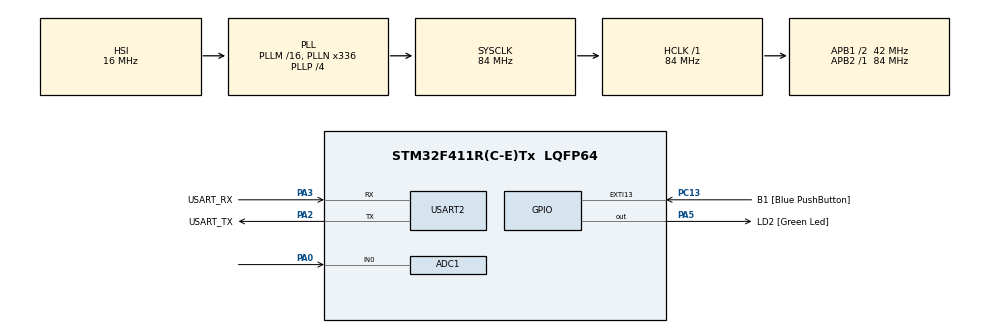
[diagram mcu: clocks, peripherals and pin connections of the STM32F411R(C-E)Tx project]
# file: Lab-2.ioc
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ADC1.Channel-0\#ChannelRegularConversion=ADC_CHANNEL_TEMPSENSOR
ADC1.Channel-1\#ChannelRegularConversion=ADC_CHANNEL_0
ADC1.ContinuousConvMode=ENABLE
ADC1.DMAContinuousRequests=ENABLE
ADC1.NbrOfConversion=2
ADC1.NbrOfConversionFlag=1
ADC1.Rank-0\#ChannelRegularConversion=1
ADC1.Rank-1\#ChannelRegularConversion=2
ADC1.SamplingTime-0\#ChannelRegularConversion=ADC_SAMPLETIME_480CYCLES
ADC1.SamplingTime-1\#ChannelRegularConversion=ADC_SAMPLETIME_480CYCLES
ADC1.ScanConvMode=ENABLE
ADC1.master=1
Dma.ADC1.0.Direction=DMA_PERIPH_TO_MEMORY
Dma.ADC1.0.FIFOMode=DMA_FIFOMODE_DISABLE
Dma.ADC1.0.Instance=DMA2_Stream0
Dma.ADC1.0.MemDataAlignment=DMA_MDATAALIGN_HALFWORD
Dma.ADC1.0.MemInc=DMA_MINC_ENABLE
Dma.ADC1.0.Mode=DMA_CIRCULAR
Dma.ADC1.0.PeriphDataAlignment=DMA_PDATAALIGN_HALFWORD
Dma.ADC1.0.PeriphInc=DMA_PINC_DISABLE
Dma.ADC1.0.Priority=DMA_PRIORITY_LOW
Dma.Request0=ADC1
Mcu.Family=STM32F4
Mcu.Name=STM32F411R(C-E)Tx
Mcu.Package=LQFP64
NVIC.ADC_IRQn=true\:0\:0\:false\:false\:true\:true\:true\:true
NVIC.DMA2_Stream0_IRQn=true\:0\:0\:false\:false\:true\:false\:true\:true
NVIC.EXTI15_10_IRQn=true\:0\:0\:false\:false\:true\:true\:true\:true
NVIC.PriorityGroup=NVIC_PRIORITYGROUP_0
PA0-WKUP.Signal=ADCx_IN0
PA13.GPIO_Label=TMS
PA13.Mode=Serial_Wire
PA13.Signal=SYS_JTMS-SWDIO
PA14.GPIO_Label=TCK
PA14.Mode=Serial_Wire
PA14.Signal=SYS_JTCK-SWCLK
PA2.GPIO_Label=USART_TX
PA2.Mode=Asynchronous
PA2.Signal=USART2_TX
PA3.GPIO_Label=USART_RX
PA3.Mode=Asynchronous
PA3.Signal=USART2_RX
PA5.GPIO_Label=LD2 [Green Led]
PA5.Signal=GPIO_Output
PB3.GPIO_Label=SWO
PB3.Signal=SYS_JTDO-SWO
PC13-ANTI_TAMP.GPIO_Label=B1 [Blue PushButton]
PC13-ANTI_TAMP.GPIO_ModeDefaultEXTI=GPIO_MODE_IT_FALLING
PC13-ANTI_TAMP.Signal=GPXTI13
PC14-OSC32_IN.Mode=LSE-External-Oscillator
PC14-OSC32_IN.Signal=RCC_OSC32_IN
PC15-OSC32_OUT.Mode=LSE-External-Oscillator
PC15-OSC32_OUT.Signal=RCC_OSC32_OUT
PH0\ -\ OSC_IN.Mode=HSE-External-Clock-Source
PH0\ -\ OSC_IN.Signal=RCC_OSC_IN
PH1\ -\ OSC_OUT.Mode=HSE-External-Clock-Source
PH1\ -\ OSC_OUT.Signal=RCC_OSC_OUT
ProjectManager.HeapSize=0x200
ProjectManager.StackSize=0x400
ProjectManager.TargetToolchain=STM32CubeIDE
RCC.48MHZClocksFreq_Value=84000000
RCC.AHBFreq_Value=84000000
RCC.APB1CLKDivider=RCC_HCLK_DIV2
RCC.APB1Freq_Value=42000000
RCC.APB1TimFreq_Value=84000000
RCC.APB2Freq_Value=84000000
RCC.APB2TimFreq_Value=84000000
RCC.CortexFreq_Value=84000000
RCC.FLatency-AdvancedSettings=FLASH_LATENCY_2
RCC.HCLKFreq_Value=84000000
RCC.HSE_VALUE=8000000
RCC.HSI_VALUE=16000000
RCC.PLLN=336
RCC.PLLP=RCC_PLLP_DIV4
RCC.SYSCLKFreq_VALUE=84000000
RCC.SYSCLKSource=RCC_SYSCLKSOURCE_PLLCLK
RCC.VCOOutputFreq_Value=336000000
SH.ADCx_IN0.0=ADC1_IN0,IN0
USART2.VirtualMode=VM_ASYNC
VP_ADC1_TempSens_Input.Mode=IN-TempSens
board=NUCLEO-F411RE

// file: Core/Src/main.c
/* USER CODE BEGIN Header */
/**
  ******************************************************************************
  * @file           : main.c
  * @brief          : Main program body
  ******************************************************************************
  * @attention
  *
  * Copyright (c) 2023 STMicroelectronics.
  * All rights reserved.
  *
  * This software is licensed under terms that can be found in the LICENSE file
  * in the root directory of this software component.
  * If no LICENSE file comes with this software, it is provided AS-IS.
  *
  ******************************************************************************
  */
/* USER CODE END Header */
#include "main.h"

ADC_HandleTypeDef hadc1;
DMA_HandleTypeDef hdma_adc1;

UART_HandleTypeDef huart2;

/* USER CODE BEGIN PV */
uint16_t adcRawData[20] ;
float Temp = 0 ;
uint16_t VoltMeter = 0 ;
/* USER CODE END PV */

void SystemClock_Config(void);
static void MX_GPIO_Init(void);
static void MX_DMA_Init(void);
static void MX_USART2_UART_Init(void);
static void MX_ADC1_Init(void);

int main(void)
{

  /* MCU Configuration--------------------------------------------------------*/

  /* Reset of all peripherals, Initializes the Flash interface and the Systick. */
  HAL_Init();

  /* Configure the system clock */
  SystemClock_Config();

  /* Initialize all configured peripherals */
  MX_GPIO_Init();
  MX_DMA_Init();
  MX_USART2_UART_Init();
  MX_ADC1_Init();
  /* USER CODE BEGIN 2 */
  HAL_ADC_Start_DMA(&hadc1, adcRawData, 20);
  /* USER CODE END 2 */

  /* Infinite loop */
  while (1)
  {

    /* USER CODE BEGIN 3 */
	  static uint32_t timestamp ;
	  if(HAL_GetTick() >= timestamp)
	  {
		  Temp = 0 ;
		  VoltMeter = 0;
		  timestamp = HAL_GetTick() + 1000 ;
		  register i ;
		  for(i = 0;i<20;i+=2)
		  {
			  Temp += adcRawData[i] ;
			  if(i == 18)
			  {
				  Temp /= 10.0 ;
				  Temp = (((Temp / 4096.0) * 3.3 - 0.760) / 0.0025) + 25.0 +273.0 ;
			  }
		  }
		  register j;
		  for(j = 1;j<21;j+=2)
		  {
			  VoltMeter += adcRawData[j] ;
			  if(j == 19)
			  {
				  VoltMeter /= 10 ;
				  VoltMeter = (VoltMeter / 3103.0) * 5.0 * 1000 ;
			  }
		  }
	  }

  }
  /* USER CODE END 3 */
}

void SystemClock_Config(void)
{
  RCC_OscInitTypeDef RCC_OscInitStruct = {0};
  RCC_ClkInitTypeDef RCC_ClkInitStruct = {0};

  /** Configure the main internal regulator output voltage
  */
  __HAL_RCC_PWR_CLK_ENABLE();
  __HAL_PWR_VOLTAGESCALING_CONFIG(PWR_REGULATOR_VOLTAGE_SCALE1);

  /** Initializes the RCC Oscillators according to the specified parameters
  * in the RCC_OscInitTypeDef structure.
  */
  RCC_OscInitStruct.OscillatorType = RCC_OSCILLATORTYPE_HSI;
  RCC_OscInitStruct.HSIState = RCC_HSI_ON;
  RCC_OscInitStruct.HSICalibrationValue = RCC_HSICALIBRATION_DEFAULT;
  RCC_OscInitStruct.PLL.PLLState = RCC_PLL_ON;
  RCC_OscInitStruct.PLL.PLLSource = RCC_PLLSOURCE_HSI;
  RCC_OscInitStruct.PLL.PLLM = 16;
  RCC_OscInitStruct.PLL.PLLN = 336;
  RCC_OscInitStruct.PLL.PLLP = RCC_PLLP_DIV4;
  RCC_OscInitStruct.PLL.PLLQ = 4;
  if (HAL_RCC_OscConfig(&RCC_OscInitStruct) != HAL_OK)
  {
    Error_Handler();
  }

  /** Initializes the CPU, AHB and APB buses clocks
  */
  RCC_ClkInitStruct.ClockType = RCC_CLOCKTYPE_HCLK|RCC_CLOCKTYPE_SYSCLK
                              |RCC_CLOCKTYPE_PCLK1|RCC_CLOCKTYPE_PCLK2;
  RCC_ClkInitStruct.SYSCLKSource = RCC_SYSCLKSOURCE_PLLCLK;
  RCC_ClkInitStruct.AHBCLKDivider = RCC_SYSCLK_DIV1;
  RCC_ClkInitStruct.APB1CLKDivider = RCC_HCLK_DIV2;
  RCC_ClkInitStruct.APB2CLKDivider = RCC_HCLK_DIV1;

  if (HAL_RCC_ClockConfig(&RCC_ClkInitStruct, FLASH_LATENCY_2) != HAL_OK)
  {
    Error_Handler();
  }
}

static void MX_ADC1_Init(void)
{

  ADC_ChannelConfTypeDef sConfig = {0};

  /** Configure the global features of the ADC (Clock, Resolution, Data Alignment and number of conversion)
  */
  hadc1.Instance = ADC1;
  hadc1.Init.ClockPrescaler = ADC_CLOCK_SYNC_PCLK_DIV4;
  hadc1.Init.Resolution = ADC_RESOLUTION_12B;
  hadc1.Init.ScanConvMode = ENABLE;
  hadc1.Init.ContinuousConvMode = ENABLE;
  hadc1.Init.DiscontinuousConvMode = DISABLE;
  hadc1.Init.ExternalTrigConvEdge = ADC_EXTERNALTRIGCONVEDGE_NONE;
  hadc1.Init.ExternalTrigConv = ADC_SOFTWARE_START;
  hadc1.Init.DataAlign = ADC_DATAALIGN_RIGHT;
  hadc1.Init.NbrOfConversion = 2;
  hadc1.Init.DMAContinuousRequests = ENABLE;
  hadc1.Init.EOCSelection = ADC_EOC_SINGLE_CONV;
  if (HAL_ADC_Init(&hadc1) != HAL_OK)
  {
    Error_Handler();
  }

  /** Configure for the selected ADC regular channel its corresponding rank in the sequencer and its sample time.
  */
  sConfig.Channel = ADC_CHANNEL_TEMPSENSOR;
  sConfig.Rank = 1;
  sConfig.SamplingTime = ADC_SAMPLETIME_480CYCLES;
  if (HAL_ADC_ConfigChannel(&hadc1, &sConfig) != HAL_OK)
  {
    Error_Handler();
  }

  /** Configure for the selected ADC regular channel its corresponding rank in the sequencer and its sample time.
  */
  sConfig.Channel = ADC_CHANNEL_0;
  sConfig.Rank = 2;
  if (HAL_ADC_ConfigChannel(&hadc1, &sConfig) != HAL_OK)
  {
    Error_Handler();
  }

}

static void MX_USART2_UART_Init(void)
{

  huart2.Instance = USART2;
  huart2.Init.BaudRate = 115200;
  huart2.Init.WordLength = UART_WORDLENGTH_8B;
  huart2.Init.StopBits = UART_STOPBITS_1;
  huart2.Init.Parity = UART_PARITY_NONE;
  huart2.Init.Mode = UART_MODE_TX_RX;
  huart2.Init.HwFlowCtl = UART_HWCONTROL_NONE;
  huart2.Init.OverSampling = UART_OVERSAMPLING_16;
  if (HAL_UART_Init(&huart2) != HAL_OK)
  {
    Error_Handler();
  }

}

static void MX_DMA_Init(void)
{

  /* DMA controller clock enable */
  __HAL_RCC_DMA2_CLK_ENABLE();

  /* DMA interrupt init */
  /* DMA2_Stream0_IRQn interrupt configuration */
  HAL_NVIC_SetPriority(DMA2_Stream0_IRQn, 0, 0);
  HAL_NVIC_EnableIRQ(DMA2_Stream0_IRQn);

}

static void MX_GPIO_Init(void)
{
  GPIO_InitTypeDef GPIO_InitStruct = {0};

  /* GPIO Ports Clock Enable */
  __HAL_RCC_GPIOC_CLK_ENABLE();
  __HAL_RCC_GPIOH_CLK_ENABLE();
  __HAL_RCC_GPIOA_CLK_ENABLE();
  __HAL_RCC_GPIOB_CLK_ENABLE();

  /*Configure GPIO pin Output Level */
  HAL_GPIO_WritePin(LD2_GPIO_Port, LD2_Pin, GPIO_PIN_RESET);

  /*Configure GPIO pin : B1_Pin */
  GPIO_InitStruct.Pin = B1_Pin;
  GPIO_InitStruct.Mode = GPIO_MODE_IT_FALLING;
  GPIO_InitStruct.Pull = GPIO_NOPULL;
  HAL_GPIO_Init(B1_GPIO_Port, &GPIO_InitStruct);

  /*Configure GPIO pin : LD2_Pin */
  GPIO_InitStruct.Pin = LD2_Pin;
  GPIO_InitStruct.Mode = GPIO_MODE_OUTPUT_PP;
  GPIO_InitStruct.Pull = GPIO_NOPULL;
  GPIO_InitStruct.Speed = GPIO_SPEED_FREQ_LOW;
  HAL_GPIO_Init(LD2_GPIO_Port, &GPIO_InitStruct);

  /* EXTI interrupt init*/
  HAL_NVIC_SetPriority(EXTI15_10_IRQn, 0, 0);
  HAL_NVIC_EnableIRQ(EXTI15_10_IRQn);

}

void Error_Handler(void)
{
  __disable_irq();
  while (1)
  {
  }
}
